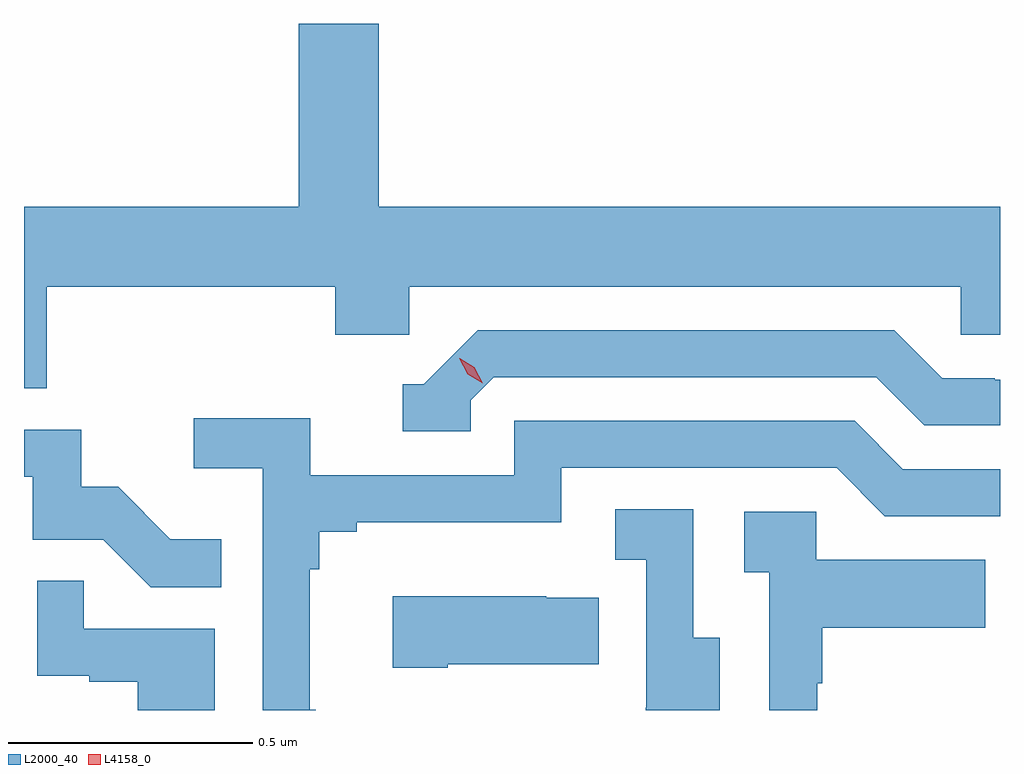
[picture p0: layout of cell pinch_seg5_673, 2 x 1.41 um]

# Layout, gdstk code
import gdstk
lib = gdstk.Library(unit=1e-6, precision=1e-09)
def P(c, l, *ps):  # polygons
    for p in ps: c.add(gdstk.Polygon(p, *l))
L2000_40 = (2000, 40)
L4158_0 = (4158, 0)

pinch_seg5_673 = lib.new_cell('pinch_seg5_673')
P(pinch_seg5_673, L2000_40, [(1075.58,834.116),(1076.171,834.116),(1076.171,834.018),(1076.322,834.018),(1076.322,834.116),(1077.453,834.116),(1077.453,834.018),(1077.533,834.018),(1077.533,834.28),(1076.26,834.28),(1076.26,834.655),(1076.096,834.655),(1076.096,834.28),(1075.533,834.28),(1075.533,833.908),(1075.58,833.908)],
  [(1076.448,833.883),(1076.496,833.931),(1077.279,833.931),(1077.378,833.832),(1077.533,833.832),(1077.533,833.925),(1077.522,833.925),(1077.522,833.928),(1077.415,833.928),(1077.316,834.027),(1076.463,834.027),(1076.352,833.916),(1076.309,833.916),(1076.309,833.82),(1076.448,833.82)],
  [(1076.131,833.249),(1076.119,833.249),(1076.119,833.537),(1076.138,833.537),(1076.138,833.614),(1076.215,833.614),(1076.215,833.633),(1076.634,833.633),(1076.634,833.745),(1077.198,833.745),(1077.297,833.646),(1077.533,833.646),(1077.533,833.742),(1077.334,833.742),(1077.235,833.841),(1076.538,833.841),(1076.538,833.73),(1076.12,833.73),(1076.12,833.846),(1075.881,833.846),(1075.881,833.744),(1076.022,833.744),(1076.022,833.248),(1076.131,833.248)],
  [(1075.937,833.599),(1075.833,833.599),(1075.726,833.706),(1075.65,833.706),(1075.65,833.823),(1075.533,833.823),(1075.533,833.727),(1075.551,833.727),(1075.551,833.598),(1075.695,833.598),(1075.793,833.5),(1075.937,833.5)],
  [(1076.959,833.397),(1076.904,833.397),(1076.904,833.66),(1076.745,833.66),(1076.745,833.557),(1076.808,833.557),(1076.808,833.253),(1076.807,833.253),(1076.807,833.248),(1076.959,833.248)],
  [(1077.159,833.303),(1077.169,833.303),(1077.169,833.417),(1077.503,833.417),(1077.503,833.557),(1077.156,833.557),(1077.156,833.655),(1077.009,833.655),(1077.009,833.531),(1077.06,833.531),(1077.06,833.248),(1077.159,833.248)],
  [(1075.924,833.415),(1075.655,833.415),(1075.655,833.513),(1075.56,833.513),(1075.56,833.319),(1075.667,833.319),(1075.667,833.307),(1075.766,833.307),(1075.766,833.248),(1075.924,833.248)],
  [(1076.401,833.342),(1076.711,833.342),(1076.711,833.479),(1076.603,833.479),(1076.603,833.482),(1076.289,833.482),(1076.289,833.335),(1076.401,833.335)])
P(pinch_seg5_673, L4158_0, [(1076.473,833.918),(1076.442,833.937),(1076.425,833.969),(1076.425,833.969),(1076.426,833.969),(1076.456,833.951),(1076.473,833.918),(1076.473,833.918)])

lib.write_gds('pinch_seg5_673.gds')
